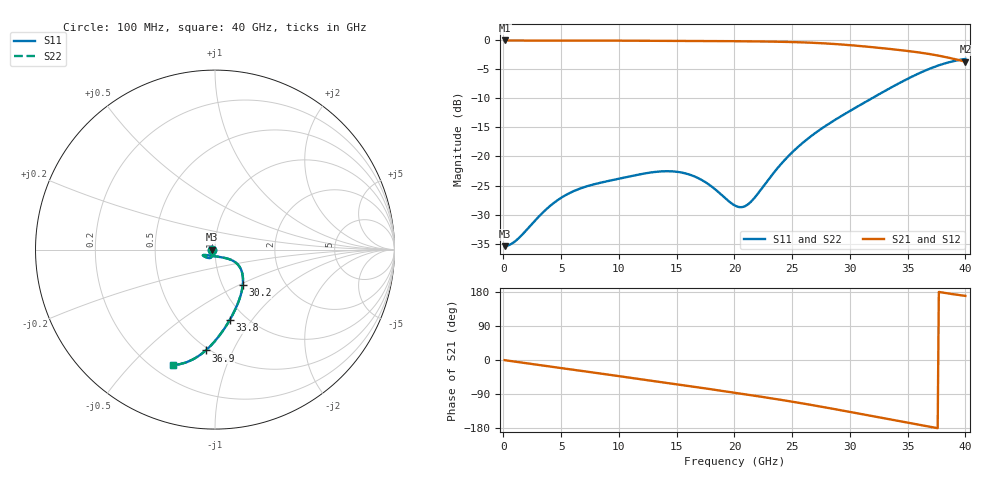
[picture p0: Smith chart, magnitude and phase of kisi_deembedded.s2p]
! A_s4_d300_ap800: kisi-fdtd, de-embedded with the 2×thru
# Hz S RI R 50
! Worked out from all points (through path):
!   400 points, 100 MHz to 40 GHz, reference 50 ohm
!   highest |S21| = -0.12 dB at 100 MHz (marker M1); lowest = -3.8 dB at 40 GHz (marker M2)
!   group delay of S21, straight-line fit = 13.3 ps
!   lowest |S11| = -35.4 dB at 100 MHz (marker M3), VSWR 1.03, Z = 48.3 - j0.0817 ohm
!   |S11| at or under -10 dB: start of sweep to 31.93 GHz
!   |S22| runs from -35.4 to -3.3 dB; largest |S21 - S12| = 3.6e-07
!   S11 on the Smith chart (normalised r, x): 100 MHz: 0.97, -0.00; 30.2 GHz: 1.24, -0.53; 33.8 GHz: 0.84, -0.79; 36.9 GHz: 0.48, -0.79; 40 GHz: 0.27, -0.66
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1e8  -0.017 -0.000845  0.9862 -0.0075  0.9862 -0.0075  -0.017 -0.000845
1.2e9  -0.0166 -0.0102  0.9814 -0.0895  0.9814 -0.0895  -0.0166 -0.0102
3.3e9  -0.0159 -0.0281  0.9532 -0.2401  0.9532 -0.2401  -0.0159 -0.0281
4.4e9  -0.0173 -0.0364  0.9306 -0.3156  0.9306 -0.3156  -0.0173 -0.0364
6.8e9  -0.0267 -0.0467  0.8621 -0.4747  0.8621 -0.4747  -0.0267 -0.0467
1.01e10  -0.0479 -0.0436  0.7181 -0.6695  0.7181 -0.6695  -0.0479 -0.0436
1.34e10  -0.0657 -0.0344  0.531 -0.8198  0.531 -0.8198  -0.0657 -0.0344
1.52e10  -0.0667 -0.0309  0.4146 -0.8835  0.4146 -0.8835  -0.0667 -0.0309
1.67e10  -0.0592 -0.0299  0.3097 -0.9251  0.3097 -0.9251  -0.0592 -0.0299
1.79e10  -0.0474 -0.0307  0.2216 -0.9492  0.2216 -0.9492  -0.0474 -0.0307
2.01e10  -0.0137 -0.0352  0.0548 -0.9702  0.0548 -0.9702  -0.0137 -0.0352
2.07e10  -0.00235 -0.0368  0.00857 -0.9706  0.00857 -0.9706  -0.00235 -0.0368
2.13e10  0.00968 -0.0386  -0.0378 -0.9687  -0.0378 -0.9687  0.00968 -0.0386
2.43e10  0.0759 -0.0521  -0.2724 -0.9203  -0.2724 -0.9203  0.0759 -0.0521
2.67e10  0.1264 -0.0824  -0.4543 -0.8261  -0.4543 -0.8261  0.1264 -0.0824
3.02e10  0.1545 -0.1991  -0.6669 -0.5981  -0.6669 -0.5981  0.1545 -0.1991
3.34e10  0.0944 -0.3697  -0.7649 -0.3351  -0.7649 -0.3351  0.0944 -0.3697
3.38e10  0.0817 -0.3926  -0.7701 -0.3013  -0.7701 -0.3013  0.0817 -0.3926
3.54e10  0.0207 -0.4838  -0.7745 -0.1678  -0.7745 -0.1678  0.0207 -0.4838
3.69e10  -0.0517 -0.5619  -0.7524 -0.0506  -0.7524 -0.0506  -0.0517 -0.5619
3.85e10  -0.1443 -0.6217  -0.7013 0.0534  -0.7013 0.0534  -0.1443 -0.6217
4e10  -0.2347 -0.6431  -0.6378 0.122  -0.6378 0.122  -0.2347 -0.6431
